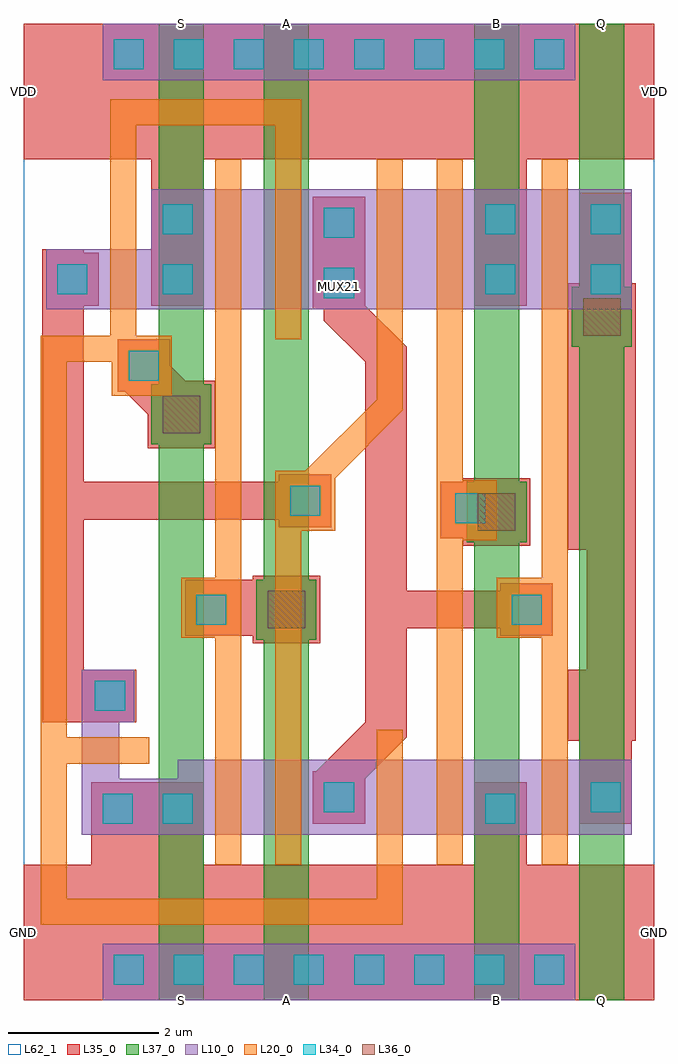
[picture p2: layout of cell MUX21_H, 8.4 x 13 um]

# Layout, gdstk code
import gdstk
lib = gdstk.Library(unit=1e-6, precision=1e-09)
def R(c, l, rs):  # rectangles x0, y0, x1, y1
    for r in rs: c.add(gdstk.rectangle(r[:2], r[2:], *l))
def A(c, l, x, y, w, h, nx, ny, dx, dy):  # array of equal rectangles
    R(c, l, [(x+i*dx, y+j*dy, x+i*dx+w, y+j*dy+h) for i in range(nx) for j in range(ny)])
def P(c, l, *ps):  # polygons
    for p in ps: c.add(gdstk.Polygon(p, *l))
L10_0 = (10, 0)
L20_0 = (20, 0)
L34_0 = (34, 0)
L35_0 = (35, 0)
L36_0 = (36, 0)
L37_0 = (37, 0)
L62_1 = (62, 1)

mux21_h = lib.new_cell('MUX21_H')
R(mux21_h, L10_0, [(1.05,0,7.35,0.75), (1.05,12.25,7.35,13)])
P(mux21_h, L10_0, [(8.1,3.2),(2.05,3.2),(2.05,2.95),(1.275,2.95),(1.275,3.7),(1.475,3.7),(1.475,4.4),(0.775,4.4),(0.775,2.2),(8.1,2.2)],
  [(8.1,10.8),(1.7,10.8),(1.7,10),(0.3,10),(0.3,9.2),(8.1,9.2)])
P(mux21_h, L20_0, [(7.25,11.2),(6.9,11.2),(6.9,5.625),(6.3,5.625),(6.3,4.825),(6.9,4.825),(6.9,1.8),(7.25,1.8)],
  [(6.3,6.925),(5.85,6.925),(5.85,11.2),(5.5,11.2),(5.5,1.8),(5.85,1.8),(5.85,6.125),(6.3,6.125)],
  [(5.05,3.6),(4.7,3.6),(4.7,1.35),(0.575,1.35),(0.575,3.15),(1.675,3.15),(1.675,3.5),(0.575,3.5),(0.575,8.5),(1.175,8.5),(1.175,8.05),(1.975,8.05),(1.975,8.85),(1.5,8.85),(1.5,11.65),(3.35,11.65),(3.35,8.8),(3.7,8.8),(3.7,12),(1.15,12),(1.15,8.85),(0.225,8.85),(0.225,1),(5.05,1)],
  [(5.05,11.2),(4.7,11.2),(4.7,7.998),(3.752,7.05),(3.35,7.05),(3.35,1.8),(3.7,1.8),(3.7,6.25),(4.15,6.25),(4.15,6.952),(5.05,7.852)],
  [(2.9,11.2),(2.55,11.2),(2.55,5.625),(2.1,5.625),(2.1,4.825),(2.55,4.825),(2.55,1.8),(2.9,1.8)])
A(mux21_h, L34_0, 1.2, 0.2, 0.4, 0.4, 8, 2, 0.8, 12.2)
R(mux21_h, L34_0, [(1.05,2.35,1.45,2.75), (1.85,2.35,2.25,2.75), (6.15,2.35,6.55,2.75), (4,2.5,4.4,2.9), (7.55,2.5,7.95,2.9), (0.95,3.85,1.35,4.25), (2.3,5,2.7,5.4), (6.5,5,6.9,5.4), (5.75,6.35,6.15,6.75), (3.55,6.45,3.95,6.85), (1.4,8.25,1.8,8.65), (4,9.35,4.4,9.75), (0.45,9.4,0.85,9.8), (1.85,9.4,2.25,9.8), (6.15,9.4,6.55,9.8), (7.55,9.4,7.95,9.8), (4,10.15,4.4,10.55), (1.85,10.2,2.25,10.6), (6.15,10.2,6.55,10.6), (7.55,10.2,7.95,10.6)])
R(mux21_h, L35_0, [(3.05,4.75,3.95,5.65), (5.85,6.05,6.75,6.95), (1.65,7.35,2.55,8.25), (7.25,8.65,8.15,9.55)])
P(mux21_h, L35_0, [(2.55,8.25),(2.15,8.25),(1.95,8.45),(1.95,8.8),(1.25,8.8),(1.25,8.1),(1.35,8.1),(1.65,7.8),(1.65,7.35),(2.55,7.35)],
  [(7.05,5.55),(6.35,5.55),(6.35,5.45),(5.1,5.45),(5.1,8.7),(4.55,9.25),(4.55,10.7),(3.85,10.7),(3.85,9.2),(4,9.2),(4,9.05),(4.55,8.5),(4.55,3.7),(3.9,3.05),(3.85,3.05),(3.85,2.35),(4.55,2.35),(4.55,2.95),(5.1,3.5),(5.1,4.95),(6.35,4.95),(6.35,4.85),(7.05,4.85)],
  [(4.1,7),(3.4,7),(3.4,6.9),(0.8,6.9),(0.8,9.25),(1,9.25),(1,9.95),(0.8,9.95),(0.8,10),(0.25,10),(0.25,3.7),(1.5,3.7),(1.5,4.4),(0.8,4.4),(0.8,6.4),(3.4,6.4),(3.4,6.3),(4.1,6.3)],
  [(3.95,5.65),(3.05,5.65),(3.05,5.6),(2.15,5.6),(2.15,4.85),(3.05,4.85),(3.05,4.75),(3.95,4.75)],
  [(8.15,9.55),(8.1,9.55),(8.1,10.75),(7.4,10.75),(7.4,9.55),(7.25,9.55),(7.25,6),(7.5,6),(7.5,4.4),(7.25,4.4),(7.25,3.45),(7.4,3.45),(7.4,2.35),(8.1,2.35),(8.1,3.45),(8.15,3.45)],
  [(6.75,6.95),(5.85,6.95),(5.85,6.9),(5.55,6.9),(5.55,6.15),(5.85,6.15),(5.85,6.05),(6.75,6.05)],
  [(8.4,1.8),(6.7,1.8),(6.7,2.9),(6,2.9),(6,1.8),(2.4,1.8),(2.4,2.9),(0.9,2.9),(0.9,1.8),(0,1.8),(0,0),(8.4,0)],
  [(8.4,13),(0,13),(0,11.2),(1.7,11.2),(1.7,9.25),(2.4,9.25),(2.4,11.2),(6,11.2),(6,9.25),(6.7,9.25),(6.7,11.2),(8.4,11.2)])
R(mux21_h, L36_0, [(3.25,4.95,3.75,5.45), (6.05,6.25,6.55,6.75), (1.85,7.55,2.35,8.05), (7.45,8.85,7.95,9.35)])
R(mux21_h, L37_0, [(1.8,0,2.4,13), (3.2,0,3.8,13), (6,0,6.6,13), (7.4,0,8,13), (3.1,4.8,3.9,5.6), (5.9,6.1,6.7,6.9), (1.7,7.4,2.5,8.2), (7.3,8.7,8.1,9.5)])
R(mux21_h, L62_1, [(0,0,8.4,13)])
mux21_h.add(gdstk.Label('MUX21', (4.2,9.5), layer=61, texttype=2))
mux21_h.add(gdstk.Label('S', (2.1,13), layer=37, texttype=0))
mux21_h.add(gdstk.Label('A', (3.5,13), layer=37, texttype=0))
mux21_h.add(gdstk.Label('B', (6.3,13), layer=37, texttype=0))
mux21_h.add(gdstk.Label('Q', (7.7,13), layer=37, texttype=0))
mux21_h.add(gdstk.Label('GND', (8.4,0.9), layer=35, texttype=0))
mux21_h.add(gdstk.Label('GND', (0,0.9), layer=35, texttype=0))
mux21_h.add(gdstk.Label('VDD', (8.4,12.1), layer=35, texttype=0))
mux21_h.add(gdstk.Label('VDD', (0,12.1), layer=35, texttype=0))
mux21_h.add(gdstk.Label('S', (2.1,0), layer=37, texttype=0))
mux21_h.add(gdstk.Label('A', (3.5,0), layer=37, texttype=0))
mux21_h.add(gdstk.Label('B', (6.3,0), layer=37, texttype=0))
mux21_h.add(gdstk.Label('Q', (7.7,0), layer=37, texttype=0))

lib.write_gds('MUX21_H.gds')
